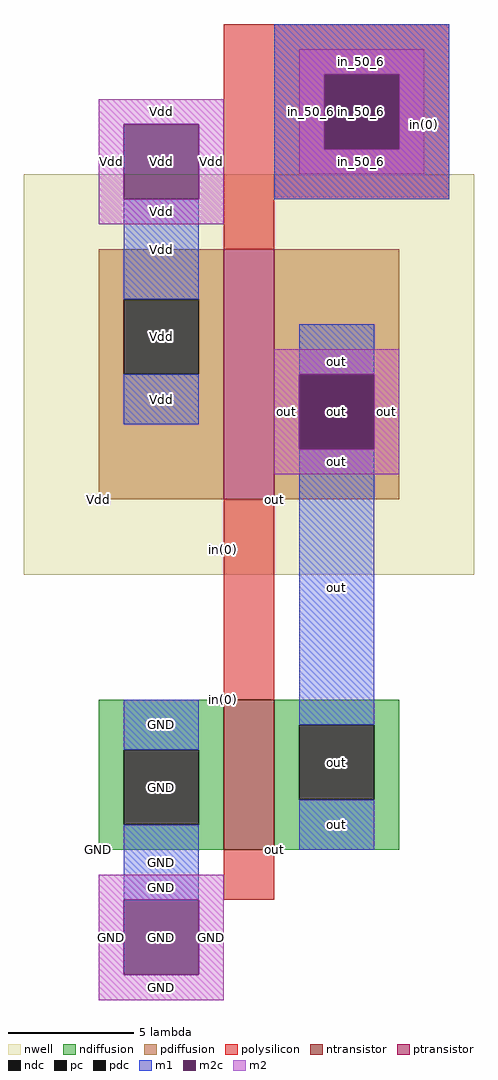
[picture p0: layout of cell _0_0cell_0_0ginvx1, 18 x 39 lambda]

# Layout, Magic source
magic
tech sky130l
<< nwell >>
rect 5 21 23 37
<< ndiffusion >>
rect 8 14 13 16
rect 8 11 9 14
rect 12 11 13 14
rect 8 10 13 11
rect 15 15 20 16
rect 15 12 16 15
rect 19 12 20 15
rect 15 10 20 12
<< ndc >>
rect 9 11 12 14
rect 16 12 19 15
<< ntransistor >>
rect 13 10 15 16
<< pdiffusion >>
rect 8 32 13 34
rect 8 29 9 32
rect 12 29 13 32
rect 8 24 13 29
rect 15 29 20 34
rect 15 26 16 29
rect 19 26 20 29
rect 15 24 20 26
<< pdc >>
rect 9 29 12 32
rect 16 26 19 29
<< ptransistor >>
rect 13 24 15 34
<< polysilicon >>
rect 13 41 22 43
rect 13 38 17 41
rect 20 38 22 41
rect 13 36 22 38
rect 13 34 15 36
rect 13 16 15 24
rect 13 8 15 10
<< pc >>
rect 17 38 20 41
<< m1 >>
rect 15 41 22 43
rect 15 38 17 41
rect 20 38 22 41
rect 15 36 22 38
rect 9 32 12 36
rect 9 27 12 29
rect 16 29 19 31
rect 9 14 12 16
rect 9 8 12 11
rect 16 15 19 26
rect 16 10 19 12
<< m2c >>
rect 9 36 12 39
rect 17 38 20 41
rect 16 26 19 29
rect 9 5 12 8
<< m2 >>
rect 16 41 21 42
rect 8 39 13 40
rect 8 36 9 39
rect 12 36 13 39
rect 16 38 17 41
rect 20 38 21 41
rect 16 37 21 38
rect 8 35 13 36
rect 15 29 20 30
rect 15 26 16 29
rect 19 26 20 29
rect 15 25 20 26
rect 8 8 13 9
rect 8 5 9 8
rect 12 5 13 8
rect 8 4 13 5
<< labels >>
rlabel ndiffusion 15 10 15 10 3 out
rlabel polysilicon 13 16 13 16 3 in(0)
rlabel ndiffusion 8 10 8 10 3 GND
rlabel pdiffusion 8 24 8 24 3 Vdd
rlabel polysilicon 13 22 13 22 3 in(0)
rlabel pdiffusion 15 24 15 24 3 out
flabel m2 s 12 5 13 8 3 FreeSerif 8 0 0 0 GND
port 1 nsew ground input
flabel m2 s 12 36 13 39 1 FreeSerif 8 0 0 0 Vdd
port 2 nsew power input
flabel m2 s 19 26 20 29 3 FreeSerif 8 0 0 0 out
port 3 nsew signal output
flabel m2 21 39 21 39 3 FreeSerif 8 0 0 0 in(0)
port 4 e
rlabel m2 s 20 38 21 41 6 in_50_6
port 1 nsew signal input
rlabel m2 s 17 38 20 41 6 in_50_6
port 1 nsew signal input
rlabel m2 s 16 37 21 38 7 in_50_6
port 1 nsew signal input
rlabel m2 s 16 38 17 41 5 in_50_6
port 1 nsew signal input
rlabel m2 s 16 41 21 42 6 in_50_6
port 1 nsew signal input
rlabel m1 s 20 38 22 41 6 in_50_6
port 1 nsew signal input
rlabel m1 s 17 38 20 41 6 in_50_6
port 1 nsew signal input
rlabel m1 s 15 36 22 38 7 in_50_6
port 1 nsew signal input
rlabel m1 s 15 38 17 41 5 in_50_6
port 1 nsew signal input
rlabel m1 s 15 41 22 43 6 in_50_6
port 1 nsew signal input
rlabel m2 s 16 26 19 29 1 out
port 3 nsew signal output
rlabel m2 s 15 25 20 26 1 out
port 3 nsew signal output
rlabel m2 s 15 26 16 29 1 out
port 3 nsew signal output
rlabel m2 s 15 29 20 30 1 out
port 3 nsew signal output
rlabel m1 s 16 12 19 15 1 out
port 3 nsew signal output
rlabel m1 s 16 15 19 26 1 out
port 3 nsew signal output
rlabel m1 s 16 26 19 29 1 out
port 3 nsew signal output
rlabel m1 s 16 29 19 31 1 out
port 3 nsew signal output
rlabel m1 s 16 10 19 12 1 out
port 3 nsew signal output
rlabel m2 s 9 36 12 39 3 Vdd
port 2 nsew power input
rlabel m2 s 8 35 13 36 3 Vdd
port 2 nsew power input
rlabel m2 s 8 36 9 39 3 Vdd
port 2 nsew power input
rlabel m2 s 8 39 13 40 4 Vdd
port 2 nsew power input
rlabel m1 s 9 27 12 29 3 Vdd
port 2 nsew power input
rlabel m1 s 9 29 12 32 3 Vdd
port 2 nsew power input
rlabel m1 s 9 32 12 36 3 Vdd
port 2 nsew power input
rlabel m1 s 9 36 12 39 3 Vdd
port 2 nsew power input
rlabel m2 s 9 5 12 8 2 GND
port 1 nsew ground input
rlabel m2 s 8 4 13 5 2 GND
port 1 nsew ground input
rlabel m2 s 8 5 9 8 2 GND
port 1 nsew ground input
rlabel m2 s 8 8 13 9 2 GND
port 1 nsew ground input
rlabel m1 s 9 5 12 8 2 GND
port 1 nsew ground input
rlabel m1 s 9 8 12 11 2 GND
port 1 nsew ground input
rlabel m1 s 9 11 12 14 3 GND
port 1 nsew ground input
rlabel m1 s 9 14 12 16 3 GND
port 1 nsew ground input
<< properties >>
string FIXED_BBOX 0 0 24 48
string LEFclass CORE
string LEFsite CoreSite
string LEFsymmetry X Y
<< end >>
